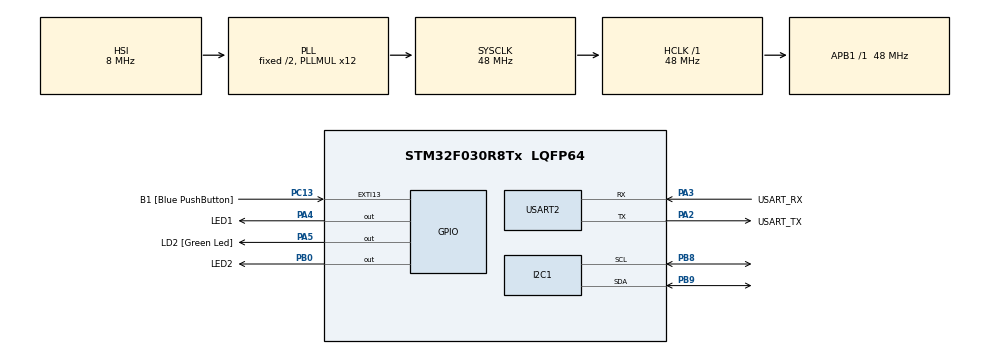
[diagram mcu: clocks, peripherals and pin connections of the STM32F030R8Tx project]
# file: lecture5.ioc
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Dma.Request0=USART2_RX
Dma.USART2_RX.0.Direction=DMA_PERIPH_TO_MEMORY
Dma.USART2_RX.0.Instance=DMA1_Channel5
Dma.USART2_RX.0.MemDataAlignment=DMA_MDATAALIGN_BYTE
Dma.USART2_RX.0.MemInc=DMA_MINC_ENABLE
Dma.USART2_RX.0.Mode=DMA_CIRCULAR
Dma.USART2_RX.0.PeriphDataAlignment=DMA_PDATAALIGN_BYTE
Dma.USART2_RX.0.PeriphInc=DMA_PINC_DISABLE
Dma.USART2_RX.0.Priority=DMA_PRIORITY_LOW
I2C1.Timing=0x00201D2B
Mcu.Family=STM32F0
Mcu.Name=STM32F030R8Tx
Mcu.Package=LQFP64
NVIC.DMA1_Channel4_5_IRQn=true\:0\:0\:false\:false\:true\:false\:true\:true
PA13.GPIO_Label=TMS
PA13.Mode=Serial_Wire
PA13.Signal=SYS_SWDIO
PA14.GPIO_Label=TCK
PA14.Mode=Serial_Wire
PA14.Signal=SYS_SWCLK
PA2.GPIO_Label=USART_TX
PA2.GPIO_Mode=GPIO_MODE_AF_PP
PA2.GPIO_PuPd=GPIO_NOPULL
PA2.GPIO_Speed=GPIO_SPEED_FREQ_LOW
PA2.Mode=Asynchronous
PA2.Signal=USART2_TX
PA3.GPIO_Label=USART_RX
PA3.GPIO_Mode=GPIO_MODE_AF_PP
PA3.GPIO_PuPd=GPIO_NOPULL
PA3.GPIO_Speed=GPIO_SPEED_FREQ_LOW
PA3.Mode=Asynchronous
PA3.Signal=USART2_RX
PA4.GPIO_Label=LED1
PA4.Signal=GPIO_Output
PA5.GPIO_Label=LD2 [Green Led]
PA5.GPIO_Mode=GPIO_MODE_OUTPUT_PP
PA5.GPIO_PuPd=GPIO_NOPULL
PA5.GPIO_Speed=GPIO_SPEED_FREQ_LOW
PA5.Signal=GPIO_Output
PB0.GPIO_Label=LED2
PB0.Signal=GPIO_Output
PB8.Mode=I2C
PB8.Signal=I2C1_SCL
PB9.Mode=I2C
PB9.Signal=I2C1_SDA
PC13.GPIO_Label=B1 [Blue PushButton]
PC13.GPIO_ModeDefaultEXTI=GPIO_MODE_IT_FALLING
PC13.Signal=GPXTI13
PC14-OSC32_IN.Mode=LSE-External-Oscillator
PC14-OSC32_IN.Signal=RCC_OSC32_IN
PC15-OSC32_OUT.Mode=LSE-External-Oscillator
PC15-OSC32_OUT.Signal=RCC_OSC32_OUT
PF0-OSC_IN.Mode=HSE-External-Clock-Source
PF0-OSC_IN.Signal=RCC_OSC_IN
PF1-OSC_OUT.Signal=RCC_OSC_OUT
ProjectManager.HeapSize=0x200
ProjectManager.StackSize=0x400
ProjectManager.TargetToolchain=STM32CubeIDE
RCC.AHBFreq_Value=48000000
RCC.APB1Freq_Value=48000000
RCC.APB1TimFreq_Value=48000000
RCC.HCLKFreq_Value=48000000
RCC.PLLMUL=RCC_PLL_MUL12
RCC.SYSCLKFreq_VALUE=48000000
RCC.SYSCLKSource=RCC_SYSCLKSOURCE_PLLCLK
USART2.VirtualMode-Asynchronous=VM_ASYNC
board=NUCLEO-F030R8

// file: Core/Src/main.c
/* USER CODE BEGIN Header */
/**
 ******************************************************************************
 * @file           : main.c
 * @brief          : Main program body
 ******************************************************************************
 * @attention
 *
 * Copyright (c) 2024 STMicroelectronics.
 * All rights reserved.
 *
 * This software is licensed under terms that can be found in the LICENSE file
 * in the root directory of this software component.
 * If no LICENSE file comes with this software, it is provided AS-IS.
 *
 ******************************************************************************
 */
/* USER CODE END Header */
#include "main.h"

/* USER CODE BEGIN Includes */
#include <stdio.h>
#include <string.h>
#include <stdlib.h>
/* USER CODE END Includes */

/* USER CODE BEGIN PD */
#define RX_BUFFER_LEN 64
#define CMD_BUFFER_LEN (RX_BUFFER_LEN)
#define uart_rx_write_ptr (RX_BUFFER_LEN - hdma_usart2_rx.Instance->CNDTR)
#define EEPROM_ADDR 0xA0
/* USER CODE END PD */

I2C_HandleTypeDef hi2c1;

UART_HandleTypeDef huart2;
DMA_HandleTypeDef hdma_usart2_rx;

/* USER CODE BEGIN PV */
static uint8_t uart_rx_buf[RX_BUFFER_LEN];
static volatile uint16_t uart_rx_read_ptr = 0;
// static uint16_t I2CMEMADD_SIZE_16BIT;
/* USER CODE END PV */

void SystemClock_Config(void);
static void MX_GPIO_Init(void);
static void MX_DMA_Init(void);
static void MX_USART2_UART_Init(void);
static void MX_I2C1_Init(void);
/* USER CODE BEGIN PFP */
int _write(int file, char const *buf, int n)
{
	/* stdout redirection to UART2 */
	HAL_UART_Transmit(&huart2, (uint8_t*)(buf), n, HAL_MAX_DELAY);
	return n;
}

static void uart_process_command(char* cmd){
	char *token;
	uint16_t addr;
	uint8_t value;
	token = strtok(cmd, " ");
	if (strcasecmp(token, "HELLO") == 0) {
		printf("Hello, welcome to the internet\n");
	}
	else if (strcasecmp(token, "LED1") == 0) {
		token = strtok(NULL, " ");
		if (strcasecmp(token, "ON") == 0) {
			HAL_GPIO_WritePin(LED1_GPIO_Port, LED1_Pin, 1);
		} else if (strcasecmp(token, "OFF") == 0) {
			HAL_GPIO_WritePin(LED1_GPIO_Port, LED1_Pin, 0);
		}
		printf("OK\n");
	}
	else if (strcasecmp(token, "LED2") == 0) {
		token = strtok(NULL, " ");
		if (strcasecmp(token, "ON") == 0) {
			HAL_GPIO_WritePin(LED2_GPIO_Port, LED2_Pin, 1);
		} else if (strcasecmp(token, "OFF") == 0) {
			HAL_GPIO_WritePin(LED2_GPIO_Port, LED2_Pin, 0);
		}
		printf("OK\n");
	}
	else if (strcasecmp(token, "STATUS") == 0) {
		uint8_t led1 = HAL_GPIO_ReadPin(LED1_GPIO_Port, LED1_Pin);
		uint8_t led2 = HAL_GPIO_ReadPin(LED2_GPIO_Port, LED2_Pin);

		printf("Status is\nLED1: ");
		if (led1 == 1) printf("ON");
		else printf("OFF");
		printf("\nLED2: ");
		if (led2 == 1) printf("ON");
		else printf("OFF");
		printf("\n");
	}
	else if (strcasecmp(token, "READ") == 0) {
		token = strtok(NULL, " ");
		addr = atoi(token);
		HAL_I2C_Mem_Read(&hi2c1, EEPROM_ADDR, addr, I2C_MEMADD_SIZE_16BIT, &value, 1, 1000);

		printf("ADDR 0x%02X: 0X%02X\n",addr, value);
	}
	else if (strcasecmp(token, "WRITE") == 0) {
		token = strtok(NULL, " ");
		addr = atoi(token);
		token = strtok(NULL, " ");
		value = atoi(token);

		HAL_I2C_Mem_Write(&hi2c1, EEPROM_ADDR, addr, I2C_MEMADD_SIZE_16BIT, &value, 1, 1000);

		while (HAL_I2C_IsDeviceReady(&hi2c1, EEPROM_ADDR, 300, 1000) == HAL_TIMEOUT) {}

		printf("OK\n");
	}
	else if (strcasecmp(token, "DUMP") == 0) {
		for (addr = 0; addr <= 15; addr++){

			HAL_I2C_Mem_Read(&hi2c1, EEPROM_ADDR, addr, I2C_MEMADD_SIZE_16BIT, &value, 1, 1000);

			printf("%02X ", value);
			if (addr == 7) printf("\n");
		}
		printf("\n");
	}

	// printf("received: '%s'\n", cmd);
}

static void uart_byte_available(uint8_t c)
{
	static uint16_t cnt; // Pocitadlo prijatych znaku
	static char data[CMD_BUFFER_LEN]; // Pole pro ukladani prijateho prikazu

	// Pokud je pocet prijatych znaku mensi nez maximalni delka bufferu
	// a prijaty znak je tisknutelny (ASCII 32-126), uloz ho do bufferu
	if (cnt < CMD_BUFFER_LEN && c >= 32 && c <= 126) data[cnt++] = c;

	// Pokud je prijat znak konce radku ('\n' nebo '\r') a buffer obsahuje znaky
	if ((c == '\n' || c == '\r') && cnt > 0) {
		data[cnt] = '\0'; // Pridani koncove nuly pro ukonceni retezce
		uart_process_command(data); // Zpracovani prijateho prikazu
		cnt = 0;
	}
}

/* USER CODE END PFP */

int main(void)
{

	/* MCU Configuration--------------------------------------------------------*/

	/* Reset of all peripherals, Initializes the Flash interface and the Systick. */
	HAL_Init();

	/* Configure the system clock */
	SystemClock_Config();

	/* Initialize all configured peripherals */
	MX_GPIO_Init();
	MX_DMA_Init();
	MX_USART2_UART_Init();
	MX_I2C1_Init();

	/* Infinite loop */
	/* USER CODE BEGIN WHILE */
	while (1)
	{
		/*
	  uint8_t c;
	  HAL_UART_Receive(&huart2, &c, sizeof(c), HAL_MAX_DELAY);
	  HAL_UART_Transmit(&huart2, &c, sizeof(c), HAL_MAX_DELAY);
		 */
		HAL_UART_Receive_DMA(&huart2, uart_rx_buf, RX_BUFFER_LEN);

		// Smycka pro zpracovani prijatych bajtu
		while (uart_rx_read_ptr != uart_rx_write_ptr) {
			uint8_t b = uart_rx_buf[uart_rx_read_ptr]; // Nacteni jednoho bajtu z prijimaciho bufferu
			// Zvyseni ukazatele pro cteni
			if (++uart_rx_read_ptr >= RX_BUFFER_LEN) uart_rx_read_ptr = 0;
			// Zpracovani kazdeho prijateho bajtu pomoci stavoveho stroje
			uart_byte_available(b);
		}

		/* USER CODE END WHILE */

	}
}

void SystemClock_Config(void)
{
	RCC_OscInitTypeDef RCC_OscInitStruct = {0};
	RCC_ClkInitTypeDef RCC_ClkInitStruct = {0};
	RCC_PeriphCLKInitTypeDef PeriphClkInit = {0};

	/** Initializes the RCC Oscillators according to the specified parameters
	 * in the RCC_OscInitTypeDef structure.
	 */
	RCC_OscInitStruct.OscillatorType = RCC_OSCILLATORTYPE_HSI;
	RCC_OscInitStruct.HSIState = RCC_HSI_ON;
	RCC_OscInitStruct.HSICalibrationValue = RCC_HSICALIBRATION_DEFAULT;
	RCC_OscInitStruct.PLL.PLLState = RCC_PLL_ON;
	RCC_OscInitStruct.PLL.PLLSource = RCC_PLLSOURCE_HSI;
	RCC_OscInitStruct.PLL.PLLMUL = RCC_PLL_MUL12;
	RCC_OscInitStruct.PLL.PREDIV = RCC_PREDIV_DIV1;
	if (HAL_RCC_OscConfig(&RCC_OscInitStruct) != HAL_OK)
	{
		Error_Handler();
	}

	/** Initializes the CPU, AHB and APB buses clocks
	 */
	RCC_ClkInitStruct.ClockType = RCC_CLOCKTYPE_HCLK|RCC_CLOCKTYPE_SYSCLK
			|RCC_CLOCKTYPE_PCLK1;
	RCC_ClkInitStruct.SYSCLKSource = RCC_SYSCLKSOURCE_PLLCLK;
	RCC_ClkInitStruct.AHBCLKDivider = RCC_SYSCLK_DIV1;
	RCC_ClkInitStruct.APB1CLKDivider = RCC_HCLK_DIV1;

	if (HAL_RCC_ClockConfig(&RCC_ClkInitStruct, FLASH_LATENCY_1) != HAL_OK)
	{
		Error_Handler();
	}
	PeriphClkInit.PeriphClockSelection = RCC_PERIPHCLK_I2C1;
	PeriphClkInit.I2c1ClockSelection = RCC_I2C1CLKSOURCE_HSI;
	if (HAL_RCCEx_PeriphCLKConfig(&PeriphClkInit) != HAL_OK)
	{
		Error_Handler();
	}
}

static void MX_I2C1_Init(void)
{

	hi2c1.Instance = I2C1;
	hi2c1.Init.Timing = 0x00201D2B;
	hi2c1.Init.OwnAddress1 = 0;
	hi2c1.Init.AddressingMode = I2C_ADDRESSINGMODE_7BIT;
	hi2c1.Init.DualAddressMode = I2C_DUALADDRESS_DISABLE;
	hi2c1.Init.OwnAddress2 = 0;
	hi2c1.Init.OwnAddress2Masks = I2C_OA2_NOMASK;
	hi2c1.Init.GeneralCallMode = I2C_GENERALCALL_DISABLE;
	hi2c1.Init.NoStretchMode = I2C_NOSTRETCH_DISABLE;
	if (HAL_I2C_Init(&hi2c1) != HAL_OK)
	{
		Error_Handler();
	}

	/** Configure Analogue filter
	 */
	if (HAL_I2CEx_ConfigAnalogFilter(&hi2c1, I2C_ANALOGFILTER_ENABLE) != HAL_OK)
	{
		Error_Handler();
	}

	/** Configure Digital filter
	 */
	if (HAL_I2CEx_ConfigDigitalFilter(&hi2c1, 0) != HAL_OK)
	{
		Error_Handler();
	}

}

static void MX_USART2_UART_Init(void)
{

	huart2.Instance = USART2;
	huart2.Init.BaudRate = 38400;
	huart2.Init.WordLength = UART_WORDLENGTH_8B;
	huart2.Init.StopBits = UART_STOPBITS_1;
	huart2.Init.Parity = UART_PARITY_NONE;
	huart2.Init.Mode = UART_MODE_TX_RX;
	huart2.Init.HwFlowCtl = UART_HWCONTROL_NONE;
	huart2.Init.OverSampling = UART_OVERSAMPLING_16;
	huart2.Init.OneBitSampling = UART_ONE_BIT_SAMPLE_DISABLE;
	huart2.AdvancedInit.AdvFeatureInit = UART_ADVFEATURE_NO_INIT;
	if (HAL_UART_Init(&huart2) != HAL_OK)
	{
		Error_Handler();
	}

}

static void MX_DMA_Init(void)
{

	/* DMA controller clock enable */
	__HAL_RCC_DMA1_CLK_ENABLE();

	/* DMA interrupt init */
	/* DMA1_Channel4_5_IRQn interrupt configuration */
	HAL_NVIC_SetPriority(DMA1_Channel4_5_IRQn, 0, 0);
	HAL_NVIC_EnableIRQ(DMA1_Channel4_5_IRQn);

}

static void MX_GPIO_Init(void)
{
	GPIO_InitTypeDef GPIO_InitStruct = {0};

	/* GPIO Ports Clock Enable */
	__HAL_RCC_GPIOC_CLK_ENABLE();
	__HAL_RCC_GPIOF_CLK_ENABLE();
	__HAL_RCC_GPIOA_CLK_ENABLE();
	__HAL_RCC_GPIOB_CLK_ENABLE();

	/*Configure GPIO pin Output Level */
	HAL_GPIO_WritePin(GPIOA, LED1_Pin|LD2_Pin, GPIO_PIN_RESET);

	/*Configure GPIO pin Output Level */
	HAL_GPIO_WritePin(LED2_GPIO_Port, LED2_Pin, GPIO_PIN_RESET);

	/*Configure GPIO pin : B1_Pin */
	GPIO_InitStruct.Pin = B1_Pin;
	GPIO_InitStruct.Mode = GPIO_MODE_IT_FALLING;
	GPIO_InitStruct.Pull = GPIO_NOPULL;
	HAL_GPIO_Init(B1_GPIO_Port, &GPIO_InitStruct);

	/*Configure GPIO pins : LED1_Pin LD2_Pin */
	GPIO_InitStruct.Pin = LED1_Pin|LD2_Pin;
	GPIO_InitStruct.Mode = GPIO_MODE_OUTPUT_PP;
	GPIO_InitStruct.Pull = GPIO_NOPULL;
	GPIO_InitStruct.Speed = GPIO_SPEED_FREQ_LOW;
	HAL_GPIO_Init(GPIOA, &GPIO_InitStruct);

	/*Configure GPIO pin : LED2_Pin */
	GPIO_InitStruct.Pin = LED2_Pin;
	GPIO_InitStruct.Mode = GPIO_MODE_OUTPUT_PP;
	GPIO_InitStruct.Pull = GPIO_NOPULL;
	GPIO_InitStruct.Speed = GPIO_SPEED_FREQ_LOW;
	HAL_GPIO_Init(LED2_GPIO_Port, &GPIO_InitStruct);

}

void Error_Handler(void)
{
	__disable_irq();
	while (1)
	{
	}
}
